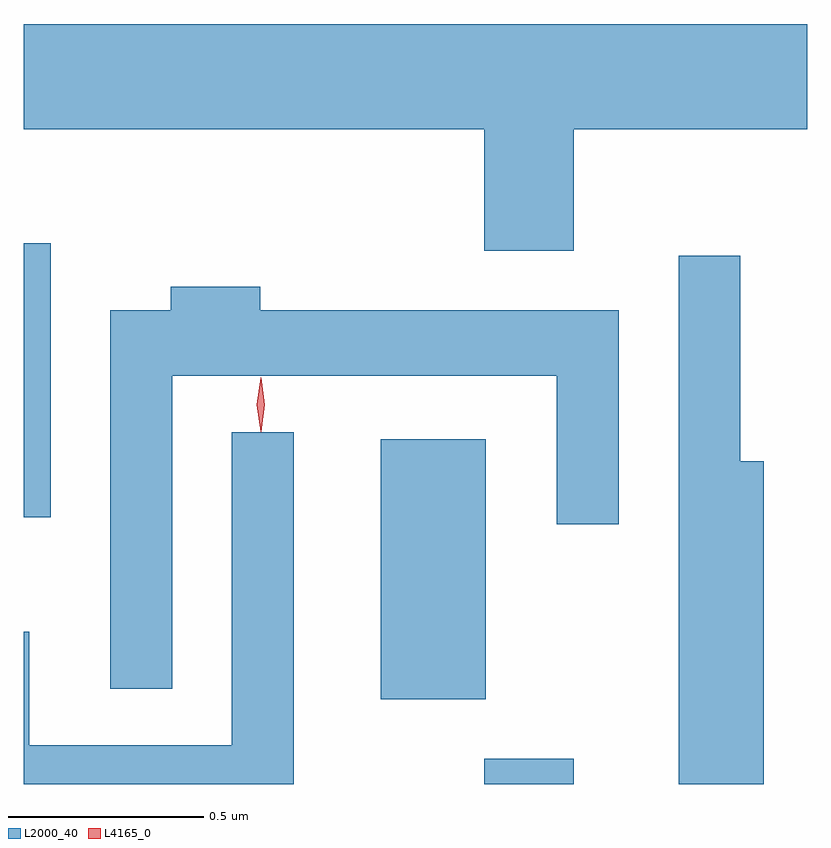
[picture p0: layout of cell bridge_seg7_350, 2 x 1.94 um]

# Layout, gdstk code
import gdstk
lib = gdstk.Library(unit=1e-6, precision=1e-09)
def R(c, l, rs):  # rectangles x0, y0, x1, y1
    for r in rs: c.add(gdstk.rectangle(r[:2], r[2:], *l))
def P(c, l, *ps):  # polygons
    for p in ps: c.add(gdstk.Polygon(p, *l))
L2000_40 = (2000, 40)
L4165_0 = (4165, 0)

bridge_seg7_350 = lib.new_cell('bridge_seg7_350')
R(bridge_seg7_350, L2000_40, [(1177.891,1772.585,1178.119,1772.649), (1177.626,1772.801,1177.894,1773.464), (1176.715,1773.266,1176.784,1773.964)])
P(bridge_seg7_350, L2000_40, [(1178.119,1774.256),(1178.715,1774.256),(1178.715,1774.524),(1176.715,1774.524),(1176.715,1774.256),(1177.891,1774.256),(1177.891,1773.946),(1178.119,1773.946)],
  [(1178.604,1773.409),(1178.544,1773.409),(1178.544,1773.933),(1178.386,1773.933),(1178.386,1772.585),(1178.604,1772.585)],
  [(1177.094,1773.626),(1178.076,1773.626),(1178.076,1773.248),(1178.234,1773.248),(1178.234,1773.794),(1177.319,1773.794),(1177.319,1773.854),(1177.091,1773.854),(1177.091,1773.794),(1176.936,1773.794),(1176.936,1772.828),(1177.094,1772.828)],
  [(1177.404,1773.483),(1177.246,1773.483),(1177.246,1772.684),(1176.729,1772.684),(1176.729,1772.974),(1176.715,1772.974),(1176.715,1772.585),(1177.404,1772.585)])
P(bridge_seg7_350, L4165_0, [(1177.321,1773.483),(1177.32,1773.484),(1177.31,1773.553),(1177.32,1773.622),(1177.32,1773.623),(1177.321,1773.622),(1177.33,1773.553),(1177.321,1773.484)])

lib.write_gds('bridge_seg7_350.gds')
